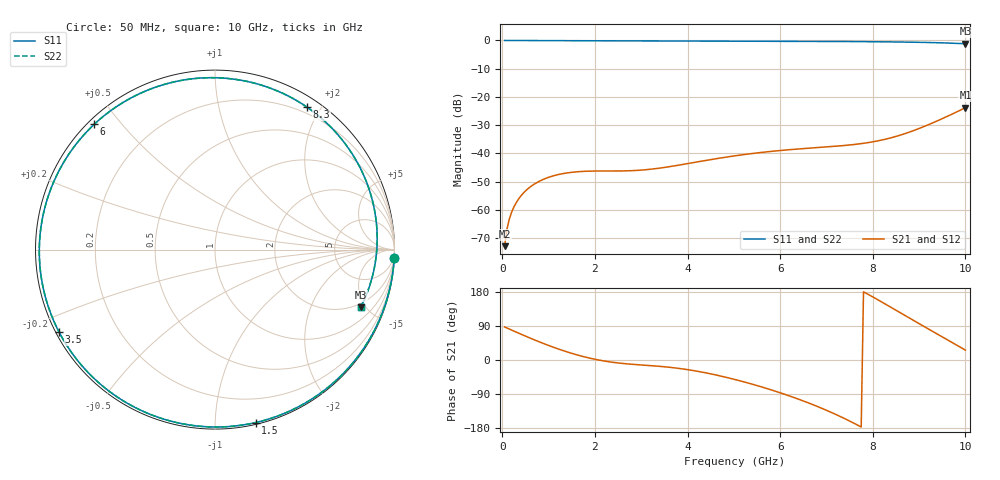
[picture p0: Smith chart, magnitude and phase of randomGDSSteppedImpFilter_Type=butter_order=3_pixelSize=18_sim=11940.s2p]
! freq	dB(S11)	phase(S11)	dB(S12)	phase(S12)
!  dB(S21)	phase(S21)	dB(S22)	phase(S22)
!S-par simulation data
#  GHz  S  DB  R 50
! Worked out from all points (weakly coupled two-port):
!   200 points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, 50 MHz to 10 GHz, reference 50 ohm
!   highest |S21| = -23.84 dB at 10 GHz (marker M1); lowest = -72.9 dB at 50 MHz (marker M2)
!   lowest |S11| = -1.2 dB at 10 GHz (marker M3), VSWR 14.72, Z = 86 - j232 ohm
!   |S11| at or under -10 dB: nowhere
!   |S22| runs from -1.2 to 0.0 dB; largest |S21 - S12| = 0
!   S11 on the Smith chart (normalised r, x): 50 MHz: 0, -41; 1.5 GHz: 0.01, -1.26; 3.5 GHz: 0.01, -0.25; 6 GHz: 0.02, +0.43; 8.3 GHz: 0.12, +1.83; 10 GHz: 1.72, -4.63
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0.05  -0.00 -2.8  -72.85 87.2  -72.85 87.2  -0.00 -2.8
0.1  -0.01 -5.5  -66.85 84.4  -66.85 84.4  -0.01 -5.5
0.2  -0.02 -11.0  -60.90 79.0  -60.90 79.0  -0.02 -11.0
0.3  -0.03 -16.4  -57.47 73.6  -57.47 73.6  -0.03 -16.4
0.45  -0.04 -24.4  -54.14 65.6  -54.14 65.6  -0.04 -24.4
0.9  -0.06 -47.9  -49.09 43.0  -49.09 43.0  -0.06 -47.9
1.5  -0.09 -76.7  -46.69 17.5  -46.69 17.5  -0.09 -76.7
1.75  -0.10 -87.8  -46.36 9.0  -46.36 9.0  -0.10 -87.8
2.45  -0.12 -116.0  -46.23 -7.1  -46.23 -7.1  -0.12 -116.0
3.4  -0.15 -148.8  -45.21 -16.7  -45.21 -16.7  -0.15 -148.8
3.5  -0.15 -152.0  -44.97 -17.8  -44.97 -17.8  -0.15 -152.0
4.25  -0.18 -175.0  -42.90 -30.5  -42.90 -30.5  -0.18 -175.0
5.05  -0.21 161.7  -40.79 -52.3  -40.79 -52.3  -0.21 161.7
6  -0.27 133.9  -38.98 -86.5  -38.98 -86.5  -0.27 133.9
6.7  -0.32 112.5  -38.06 -117.5  -38.06 -117.5  -0.32 112.5
7.55  -0.39 84.5  -36.93 -164.1  -36.93 -164.1  -0.39 84.4
8.3  -0.49 57.1  -34.87 145.6  -34.87 145.6  -0.49 57.0
8.35  -0.50 55.2  -34.66 142.0  -34.66 142.0  -0.50 55.1
8.8  -0.60 36.9  -32.40 110.0  -32.40 110.0  -0.60 36.8
9.25  -0.74 17.1  -29.50 78.5  -29.50 78.5  -0.74 17.0
9.65  -0.93 -2.4  -26.57 50.9  -26.57 50.9  -0.93 -2.5
10  -1.18 -21.6  -23.84 26.0  -23.84 26.0  -1.18 -21.7
